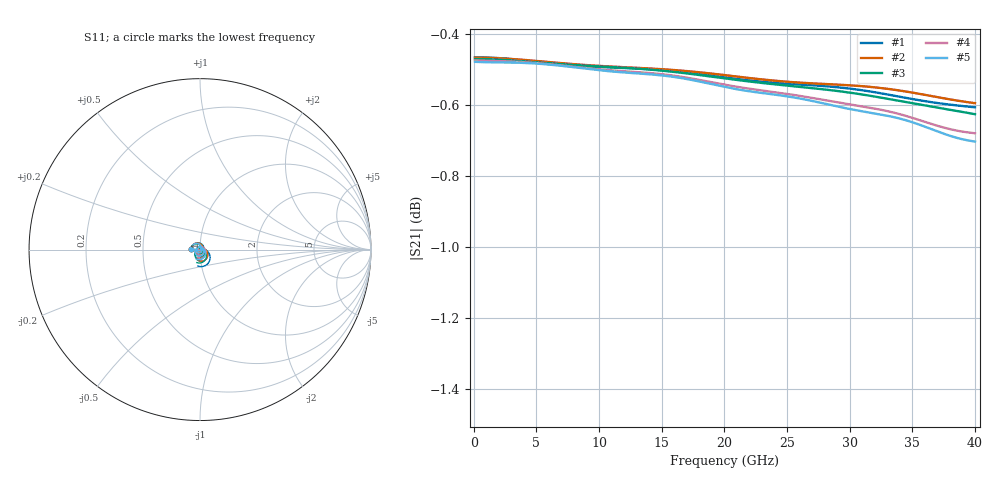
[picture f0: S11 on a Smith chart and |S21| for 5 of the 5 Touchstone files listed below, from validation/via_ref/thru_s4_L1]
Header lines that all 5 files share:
! thru_s4_L1: 2×thru, L1, 8 mm
! stackup: 4-layer 1.6 mm FR-4
! ports: 1, 2
# Hz S RI R 50
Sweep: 100 MHz to 40 GHz
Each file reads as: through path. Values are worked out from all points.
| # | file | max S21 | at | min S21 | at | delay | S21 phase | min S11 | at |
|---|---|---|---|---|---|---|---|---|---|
| 1 | cst.s2p | -0.47 dB | 200 MHz | -0.6 dB | 40 GHz | 50.4 ps | -0 deg at 20.1 GHz | -52.2 dB | 33.8 GHz |
| 2 | cst_fine.s2p | -0.47 dB | 200 MHz | -0.6 dB | 40 GHz | 50.2 ps | 0 deg at 20.1 GHz | -47.0 dB | 33.5 GHz |
| 3 | kisi.s2p | -0.47 dB | 100 MHz | -0.6 dB | 40 GHz | 50.4 ps | -1 deg at 20.1 GHz | -48.2 dB | 34.5 GHz |
| 4 | openems.s2p | -0.48 dB | 100 MHz | -0.7 dB | 40 GHz | 50.6 ps | -2 deg at 20.1 GHz | -52.8 dB | 9.8 GHz |
| 5 | openems_base.s2p | -0.48 dB | 100 MHz | -0.7 dB | 40 GHz | 50.6 ps | -2 deg at 20.1 GHz | -48.7 dB | 9.5 GHz |
